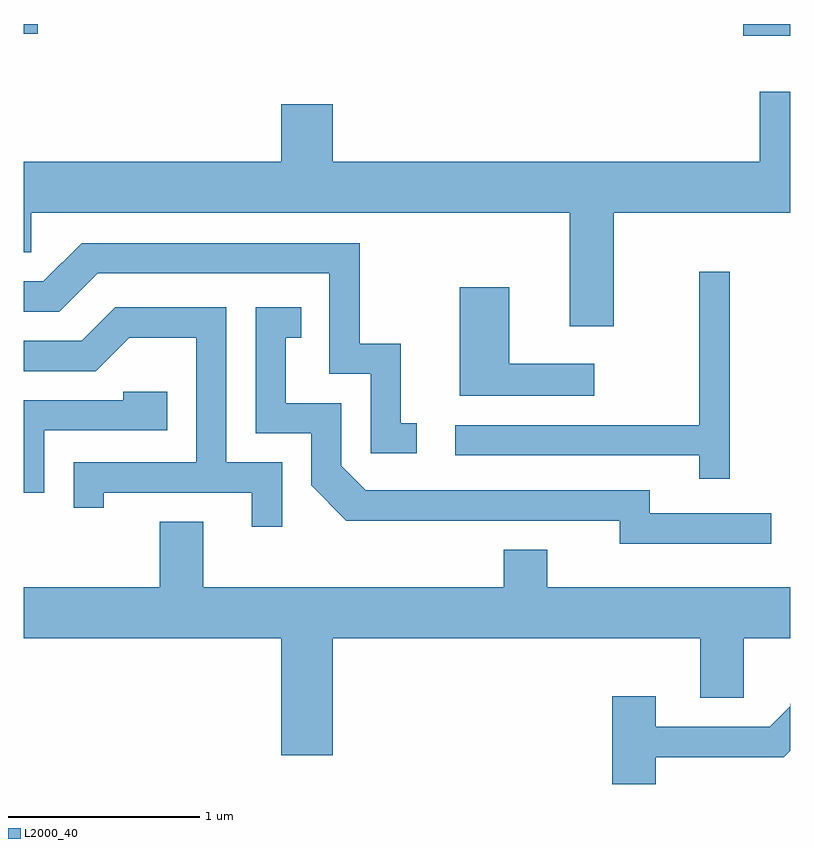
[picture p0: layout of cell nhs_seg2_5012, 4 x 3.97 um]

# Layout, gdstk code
import gdstk
lib = gdstk.Library(unit=1e-6, precision=1e-09)
def R(c, l, rs):  # rectangles x0, y0, x1, y1
    for r in rs: c.add(gdstk.rectangle(r[:2], r[2:], *l))
def P(c, l, *ps):  # polygons
    for p in ps: c.add(gdstk.Polygon(p, *l))
L2000_40 = (2000, 40)

nhs_seg2_5012 = lib.new_cell('nhs_seg2_5012')
R(nhs_seg2_5012, L2000_40, [(337.366,993.741,337.611,993.802), (333.611,993.751,333.684,993.802)])
P(nhs_seg2_5012, L2000_40, [(336.689,992.816),(337.611,992.816),(337.611,993.448),(337.451,993.448),(337.451,993.084),(335.224,993.084),(335.224,993.384),(334.956,993.384),(334.956,993.084),(333.611,993.084),(333.611,992.611),(333.649,992.611),(333.649,992.816),(336.461,992.816),(336.461,992.226),(336.689,992.226)],
  [(335.663,991.719),(335.579,991.719),(335.579,992.134),(335.364,992.134),(335.364,992.659),(333.914,992.659),(333.714,992.459),(333.611,992.459),(333.611,992.301),(333.797,992.301),(333.997,992.501),(335.206,992.501),(335.206,991.976),(335.421,991.976),(335.421,991.561),(335.663,991.561)],
  [(337.294,992.508),(337.136,992.508),(337.136,991.709),(335.863,991.709),(335.863,991.551),(337.136,991.551),(337.136,991.428),(337.294,991.428)],
  [(336.588,992.029),(336.144,992.029),(336.144,992.429),(335.886,992.429),(335.886,991.861),(336.588,991.861)],
  [(334.959,991.514),(334.669,991.514),(334.669,992.324),(334.089,992.324),(333.914,992.149),(333.611,992.149),(333.611,991.991),(333.987,991.991),(334.162,992.166),(334.511,992.166),(334.511,991.514),(333.871,991.514),(333.871,991.278),(334.029,991.278),(334.029,991.356),(334.801,991.356),(334.801,991.178),(334.959,991.178)],
  [(337.513,991.249),(336.879,991.249),(336.879,991.369),(335.397,991.369),(335.269,991.497),(335.269,991.824),(334.979,991.824),(334.979,992.166),(335.058,992.166),(335.058,992.324),(334.821,992.324),(334.821,991.666),(335.111,991.666),(335.111,991.394),(335.294,991.211),(336.721,991.211),(336.721,991.091),(337.513,991.091)],
  [(333.719,991.681),(334.359,991.681),(334.359,991.884),(334.131,991.884),(334.131,991.839),(333.611,991.839),(333.611,991.356),(333.719,991.356)],
  [(335.224,990.596),(337.141,990.596),(337.141,990.286),(337.369,990.286),(337.369,990.596),(337.611,990.596),(337.611,990.864),(336.344,990.864),(336.344,991.059),(336.116,991.059),(336.116,990.864),(334.549,990.864),(334.549,991.204),(334.321,991.204),(334.321,990.864),(333.611,990.864),(333.611,990.596),(334.956,990.596),(334.956,989.986),(335.224,989.986)],
  [(336.909,989.976),(337.577,989.976),(337.611,990.01),(337.611,990.254),(337.61,990.254),(337.61,990.241),(337.504,990.134),(336.909,990.134),(336.909,990.294),(336.681,990.294),(336.681,989.836),(336.909,989.836)])

lib.write_gds('nhs_seg2_5012.gds')
